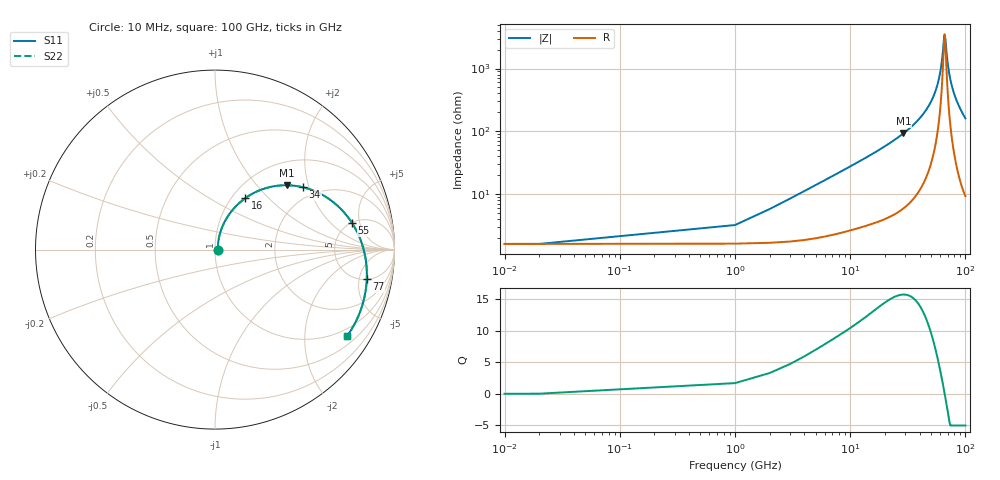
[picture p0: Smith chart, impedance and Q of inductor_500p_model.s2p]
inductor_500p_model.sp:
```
* WIDEBAND RFIC INDUCTOR MODEL WITH SUBSTRATE NETWORK
* Created using inductor_fit.py 1.2 from inductor_500p.s2p
* Fit band 0.010 to 78.000 GHz, 3 coil segment(s)
* Total element values:
*   Rs = 1.5926
*   Ls = 3.6692e-10
*   Rskin1 = 1.6564
*   Lskin1 = 2.58086e-11
*   Rskin2 = 127.767
*   Lskin2 = 4.49805e-11
*   Cs = 4.8369e-15
*   Cox1 = 1.49691e-14
*   Rsi1 = 578.815
*   Csi1 = 5.55904e-14
*   Cox2 = 1.49691e-14
*   Rsi2 = 578.815
*   Csi2 = 5.55904e-14
*
.SUBCKT inductor_model p1 p2
* coil segment 1
Rs_1 p1 a1 0.530868
Ls_1 a1 b1 1.22307e-10
Rskin1_1 b1 d1 0.552134
Lskin1_1 b1 d1 8.60287e-12
Rskin2_1 d1 c1 42.589
Lskin2_1 d1 c1 1.49935e-11
* coil segment 2
Rs_2 c1 a2 0.530868
Ls_2 a2 b2 1.22307e-10
Rskin1_2 b2 d2 0.552134
Lskin1_2 b2 d2 8.60287e-12
Rskin2_2 d2 c2 42.589
Lskin2_2 d2 c2 1.49935e-11
* coil segment 3
Rs_3 c2 a3 0.530868
Ls_3 a3 b3 1.22307e-10
Rskin1_3 b3 d3 0.552134
Lskin1_3 b3 d3 8.60287e-12
Rskin2_3 d3 p2 42.589
Lskin2_3 d3 p2 1.49935e-11
Cs p1 p2 4.8369e-15
* substrate network at p1
Cox_n0 p1 s0 4.98969e-15
Rsi_n0 s0 0 1736.44
Csi_n0 s0 0 1.85301e-14
* substrate network at c1
Cox_n1 c1 s1 9.97939e-15
Rsi_n1 s1 0 868.222
Csi_n1 s1 0 3.70603e-14
* substrate network at c2
Cox_n2 c2 s2 9.97939e-15
Rsi_n2 s2 0 868.222
Csi_n2 s2 0 3.70603e-14
* substrate network at p2
Cox_n3 p2 s3 4.98969e-15
Rsi_n3 s3 0 1736.44
Csi_n3 s3 0 1.85301e-14
.ENDS
```
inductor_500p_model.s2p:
! Inductor model fitted by inductor_fit.py 1.2 from inductor_500p.s2p
#  Hz  S  RI  R  50
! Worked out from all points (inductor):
!   102 points, 10 MHz to 100 GHz, reference 50 ohm
!   read as 1/Y11, port 2 shorted: L = 436 pH near 2 GHz
!   highest Q = 15.7 at 29 GHz (marker M1), where L = 507 pH
!   self-resonance near 66 GHz
!   S11 on the Smith chart (normalised r, x): 10 MHz: 1.03, +0.00; 16 GHz: 1.15, +0.74; 34 GHz: 1.68, +1.83; 55 GHz: 5.11, +3.81; 77 GHz: 5.04, -6.46; 100 GHz: 0.76, -3.21
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1e7  0.0157 0.000219  0.9843 -0.000313  0.9843 -0.000313  0.0157 0.000219
2e9  0.0183 0.044  0.9799 -0.062  0.9799 -0.062  0.0183 0.044
5e9  0.0335 0.1086  0.9609 -0.1492  0.9609 -0.1492  0.0335 0.1086
9e9  0.0714 0.1851  0.9196 -0.2543  0.9196 -0.2543  0.0714 0.1851
1.6e10  0.1694 0.2871  0.8158 -0.407  0.8158 -0.407  0.1694 0.2871
2.9e10  0.402 0.3585  0.5658 -0.5753  0.5658 -0.5753  0.402 0.3585
3.4e10  0.4909 0.3471  0.4673 -0.6021  0.4673 -0.6021  0.4909 0.3471
5.1e10  0.7273 0.1978  0.1829 -0.5874  0.1829 -0.5874  0.7273 0.1978
5.5e10  0.7644 0.1472  0.1305 -0.5696  0.1305 -0.5696  0.7644 0.1472
7.7e10  0.8456 -0.1653  -0.0756 -0.448  -0.0756 -0.448  0.8456 -0.1653
1e11  0.7377 -0.4795  -0.2216 -0.3409  -0.2216 -0.3409  0.7377 -0.4795
